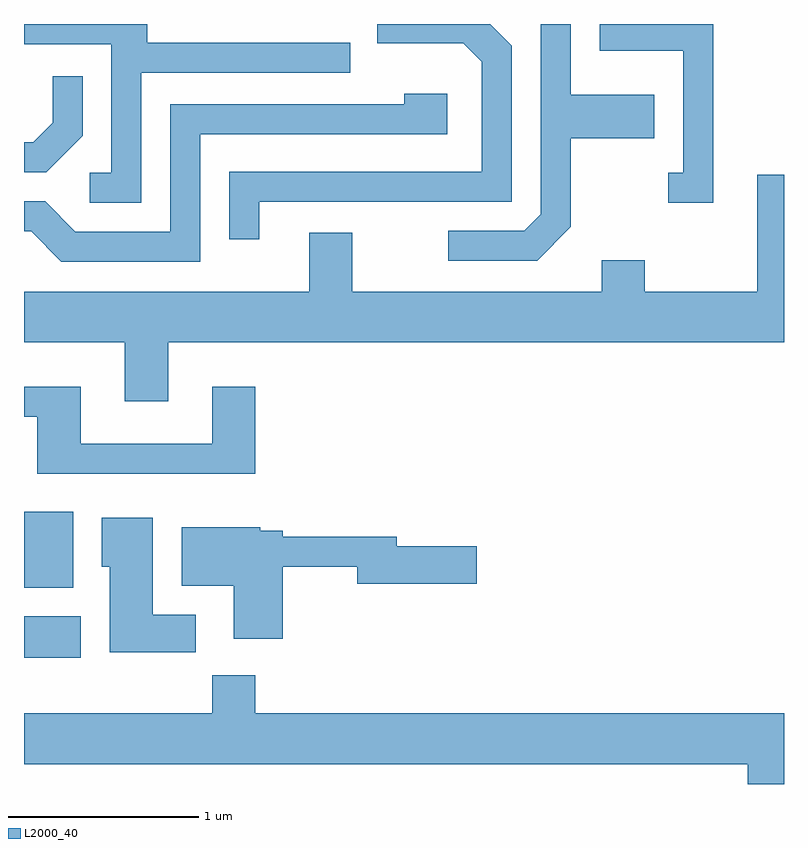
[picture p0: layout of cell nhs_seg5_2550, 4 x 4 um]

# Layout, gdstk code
import gdstk
lib = gdstk.Library(unit=1e-6, precision=1e-09)
def R(c, l, rs):  # rectangles x0, y0, x1, y1
    for r in rs: c.add(gdstk.rectangle(r[:2], r[2:], *l))
def P(c, l, *ps):  # polygons
    for p in ps: c.add(gdstk.Polygon(p, *l))
L2000_40 = (2000, 40)

nhs_seg5_2550 = lib.new_cell('nhs_seg5_2550')
R(nhs_seg5_2550, L2000_40, [(261.611,1410.736,261.909,1410.954), (261.611,1411.106,261.869,1411.504)])
P(nhs_seg5_2550, L2000_40, [(262.849,1413.136),(264.179,1413.136),(264.179,1413.957),(264.064,1414.072),(263.471,1414.072),(263.471,1413.971),(263.924,1413.971),(264.021,1413.874),(264.021,1413.294),(262.691,1413.294),(262.691,1412.938),(262.849,1412.938)],
  [(262.229,1413.816),(263.328,1413.816),(263.328,1413.974),(262.259,1413.974),(262.259,1414.072),(261.611,1414.072),(261.611,1413.966),(262.071,1413.966),(262.071,1413.289),(261.957,1413.289),(261.957,1413.131),(262.229,1413.131)],
  [(265.239,1414.072),(264.641,1414.072),(264.641,1413.931),(265.081,1413.931),(265.081,1413.289),(265.003,1413.289),(265.003,1413.131),(265.239,1413.131)],
  [(264.489,1413.004),(264.489,1413.471),(264.929,1413.471),(264.929,1413.699),(264.489,1413.699),(264.489,1414.072),(264.331,1414.072),(264.331,1413.072),(264.244,1412.984),(263.843,1412.984),(263.843,1412.826),(264.312,1412.826)],
  [(261.919,1413.484),(261.919,1413.798),(261.761,1413.798),(261.761,1413.552),(261.659,1413.449),(261.611,1413.449),(261.611,1413.291),(261.727,1413.291)],
  [(262.539,1413.491),(263.839,1413.491),(263.839,1413.704),(263.611,1413.704),(263.611,1413.649),(262.381,1413.649),(262.381,1412.979),(261.882,1412.979),(261.722,1413.139),(261.611,1413.139),(261.611,1412.981),(261.649,1412.981),(261.808,1412.821),(262.539,1412.821)],
  [(262.369,1412.396),(265.611,1412.396),(265.611,1413.279),(265.471,1413.279),(265.471,1412.664),(264.879,1412.664),(264.879,1412.829),(264.651,1412.829),(264.651,1412.664),(263.339,1412.664),(263.339,1412.974),(263.111,1412.974),(263.111,1412.664),(261.611,1412.664),(261.611,1412.396),(262.141,1412.396),(262.141,1412.086),(262.369,1412.086)],
  [(262.829,1412.164),(262.601,1412.164),(262.601,1411.864),(261.909,1411.864),(261.909,1412.164),(261.611,1412.164),(261.611,1412.006),(261.681,1412.006),(261.681,1411.706),(262.829,1411.706)],
  [(262.514,1410.964),(262.289,1410.964),(262.289,1411.474),(262.021,1411.474),(262.021,1411.216),(262.061,1411.216),(262.061,1410.766),(262.514,1410.766)],
  [(262.974,1411.216),(263.366,1411.216),(263.366,1411.126),(263.994,1411.126),(263.994,1411.324),(263.574,1411.324),(263.574,1411.374),(262.974,1411.374),(262.974,1411.404),(262.854,1411.404),(262.854,1411.424),(262.441,1411.424),(262.441,1411.116),(262.716,1411.116),(262.716,1410.836),(262.974,1410.836)],
  [(265.611,1410.444),(262.829,1410.444),(262.829,1410.644),(262.601,1410.644),(262.601,1410.444),(261.611,1410.444),(261.611,1410.176),(265.421,1410.176),(265.421,1410.072),(265.611,1410.072)])

lib.write_gds('nhs_seg5_2550.gds')
